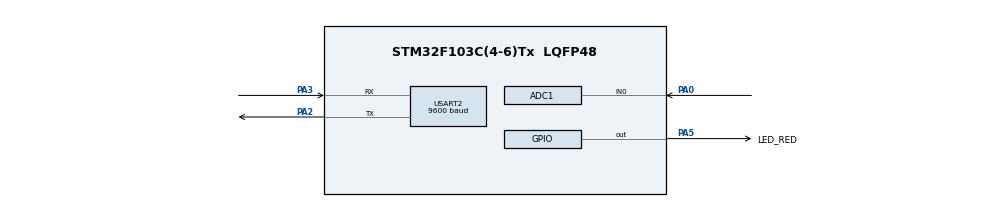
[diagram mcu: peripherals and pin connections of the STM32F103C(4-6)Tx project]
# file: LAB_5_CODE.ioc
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ADC1.Channel-0\#ChannelRegularConversion=ADC_CHANNEL_0
ADC1.ContinuousConvMode=ENABLE
ADC1.NbrOfConversionFlag=1
ADC1.Rank-0\#ChannelRegularConversion=1
ADC1.SamplingTime-0\#ChannelRegularConversion=ADC_SAMPLETIME_1CYCLE_5
ADC1.master=1
Mcu.Family=STM32F1
Mcu.Name=STM32F103C(4-6)Tx
Mcu.Package=LQFP48
NVIC.PriorityGroup=NVIC_PRIORITYGROUP_4
NVIC.TIM2_IRQn=true\:0\:0\:false\:false\:true\:true\:true\:true
NVIC.USART2_IRQn=true\:0\:0\:false\:false\:true\:true\:true\:true
PA0-WKUP.Signal=ADCx_IN0
PA2.Mode=Asynchronous
PA2.Signal=USART2_TX
PA3.Mode=Asynchronous
PA3.Signal=USART2_RX
PA5.GPIO_Label=LED_RED
PA5.GPIO_Speed=GPIO_SPEED_FREQ_HIGH
PA5.PinState=GPIO_PIN_SET
PA5.Signal=GPIO_Output
ProjectManager.HeapSize=0x200
ProjectManager.StackSize=0x400
ProjectManager.TargetToolchain=CMake
RCC.APB1Freq_Value=8000000
RCC.APB2Freq_Value=8000000
SH.ADCx_IN0.0=ADC1_IN0,IN0
TIM2.Channel-PWM\ Generation1\ CH1=TIM_CHANNEL_1
TIM2.OCMode_PWM-PWM\ Generation1\ CH1=TIM_OCMODE_PWM1
TIM2.Period=10-1
TIM2.Prescaler=800-1
TIM2.Pulse-PWM\ Generation1\ CH1=500
USART2.BaudRate=9600
USART2.VirtualMode=VM_ASYNC
VP_SYS_VS_ND.Mode=No_Debug
VP_TIM2_VS_ClockSourceINT.Mode=Internal
board=custom

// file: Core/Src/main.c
/* USER CODE BEGIN Header */
/**
 ******************************************************************************
 * @file           : main.c
 * @brief          : Main program body
 ******************************************************************************
 * @attention
 *
 * Copyright (c) 2026 STMicroelectronics.
 * All rights reserved.
 *
 * This software is licensed under terms that can be found in the LICENSE file
 * in the root directory of this software component.
 * If no LICENSE file comes with this software, it is provided AS-IS.
 *
 ******************************************************************************
 */
/* USER CODE END Header */
#include "main.h"
#include "adc.h"
#include "stm32f1xx_hal_tim.h"
#include "tim.h"
#include "usart.h"
#include "gpio.h"

/* USER CODE BEGIN Includes */
#include "fsm_cmd_parser.h"
#include "fsm_app_control.h"
/* USER CODE END Includes */

/* USER CODE BEGIN PV */
swTim_t led_tim = {0};
swTim_t led_pwm_tim = {0};
swTim_t arq_tim = {0};
sys_event app_evt = EVT_NONE;
/* USER CODE END PV */

void SystemClock_Config(void);

/* USER CODE BEGIN 0 */
void swTim_init(swTim_t *timer, uint16_t duration)
{
  if (timer == NULL)
    return;
  timer->flag = false;
  timer->duration = duration;
  timer->counter = (duration / TIM2_TICK);
}

void swTim_clear(swTim_t *timer)
{
  if (timer == NULL)
    return;
  timer->flag = false;
  timer->duration = 0;
  timer->counter = 0;
}
/* USER CODE END 0 */

int main(void)
{

  /* MCU Configuration--------------------------------------------------------*/

  /* Reset of all peripherals, Initializes the Flash interface and the Systick. */
  HAL_Init();

  /* Configure the system clock */
  SystemClock_Config();

  /* Initialize all configured peripherals */
  MX_GPIO_Init();
  MX_ADC1_Init();
  MX_TIM2_Init();
  MX_USART2_UART_Init();
  /* USER CODE BEGIN 2 */
  HAL_TIM_Base_Start_IT(&htim2);
  HAL_ADC_Start(&hadc1);
  uart2_rx_init();

  fsm_cmdParse_init();
  fsm_cmdParse_run(EVT_NONE);
  fsm_appCtrl_init();
  fsm_appCtrl_run(EVT_NONE);

  swTim_init(&led_tim, LED_PERIOD);
  swTim_clear(&led_pwm_tim);
  swTim_clear(&arq_tim);
  /* USER CODE END 2 */

  /* Infinite loop */
  while (1)
  {

    /* USER CODE BEGIN 3 */
    if (led_tim.flag)
    {
      HAL_GPIO_WritePin(LED_RED_GPIO_Port, LED_RED_Pin, GPIO_PIN_RESET);
      swTim_init(&led_pwm_tim, LED_PWM_DURATION);
      swTim_init(&led_tim, LED_PERIOD);
    }

    if (led_pwm_tim.flag)
    {
      HAL_GPIO_WritePin(LED_RED_GPIO_Port, LED_RED_Pin, GPIO_PIN_SET);
      swTim_clear(&led_pwm_tim);
    }

    const char *rx_msg = uart2_receive();
    if (rx_msg != NULL)
    {
      fsm_cmdParse_load_msg(rx_msg);
      fsm_cmdParse_run(EVT_MSG_RCVD);
    }
    else
    {
      fsm_cmdParse_run(EVT_NONE);
    }

    if (app_evt != EVT_NONE)
    {
      sys_event evt = app_evt;
      app_evt = EVT_NONE;
      fsm_appCtrl_run(evt);
    }

    if (arq_tim.flag)
    {
      swTim_clear(&arq_tim);
      fsm_appCtrl_run(EVT_TIMEOUT);
    }
    __WFI();
  }
  /* USER CODE END 3 */
}

void SystemClock_Config(void)
{
  RCC_OscInitTypeDef RCC_OscInitStruct = {0};
  RCC_ClkInitTypeDef RCC_ClkInitStruct = {0};
  RCC_PeriphCLKInitTypeDef PeriphClkInit = {0};

  /** Initializes the RCC Oscillators according to the specified parameters
   * in the RCC_OscInitTypeDef structure.
   */
  RCC_OscInitStruct.OscillatorType = RCC_OSCILLATORTYPE_HSI;
  RCC_OscInitStruct.HSIState = RCC_HSI_ON;
  RCC_OscInitStruct.HSICalibrationValue = RCC_HSICALIBRATION_DEFAULT;
  RCC_OscInitStruct.PLL.PLLState = RCC_PLL_NONE;
  if (HAL_RCC_OscConfig(&RCC_OscInitStruct) != HAL_OK)
  {
    Error_Handler();
  }

  /** Initializes the CPU, AHB and APB buses clocks
   */
  RCC_ClkInitStruct.ClockType = RCC_CLOCKTYPE_HCLK | RCC_CLOCKTYPE_SYSCLK | RCC_CLOCKTYPE_PCLK1 | RCC_CLOCKTYPE_PCLK2;
  RCC_ClkInitStruct.SYSCLKSource = RCC_SYSCLKSOURCE_HSI;
  RCC_ClkInitStruct.AHBCLKDivider = RCC_SYSCLK_DIV1;
  RCC_ClkInitStruct.APB1CLKDivider = RCC_HCLK_DIV1;
  RCC_ClkInitStruct.APB2CLKDivider = RCC_HCLK_DIV1;

  if (HAL_RCC_ClockConfig(&RCC_ClkInitStruct, FLASH_LATENCY_0) != HAL_OK)
  {
    Error_Handler();
  }
  PeriphClkInit.PeriphClockSelection = RCC_PERIPHCLK_ADC;
  PeriphClkInit.AdcClockSelection = RCC_ADCPCLK2_DIV2;
  if (HAL_RCCEx_PeriphCLKConfig(&PeriphClkInit) != HAL_OK)
  {
    Error_Handler();
  }
}

void Error_Handler(void)
{
  __disable_irq();
  while (1)
  {
  }
}
